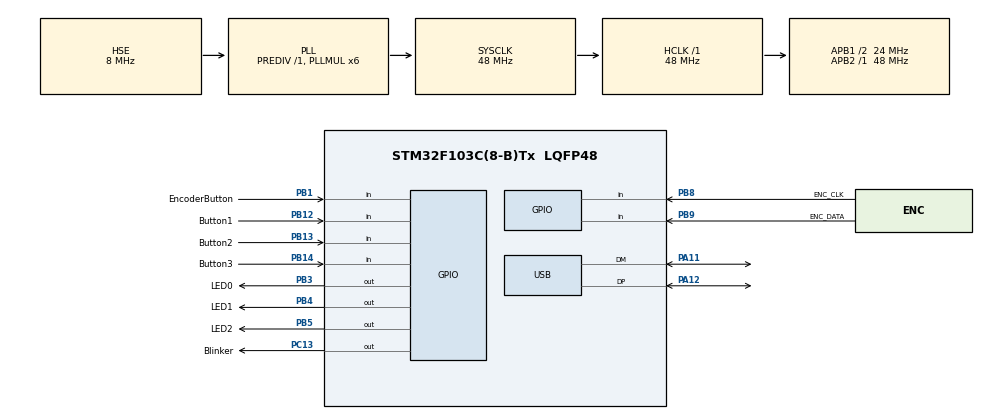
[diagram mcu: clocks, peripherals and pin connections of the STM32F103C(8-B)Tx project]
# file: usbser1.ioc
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Mcu.Family=STM32F1
PB5.GPIO_ModeDefaultOutputPP=GPIO_MODE_OUTPUT_OD
USB_DEVICE.CLASS_NAME_FS=CDC
PD1-OSC_OUT.Mode=HSE-External-Oscillator
PB9.GPIO_Label=ENC_DATA
USB_DEVICE.VirtualModeFS=Cdc_FS
PB14.GPIO_Label=Button3
PC13-TAMPER-RTC.Signal=GPIO_Output
PA11.Mode=Device
PD0-OSC_IN.Signal=RCC_OSC_IN
RCC.APB1CLKDivider=RCC_HCLK_DIV2
PB13.GPIO_Label=Button2
PB13.Signal=GPIO_Input
RCC.SYSCLKSource=RCC_SYSCLKSOURCE_PLLCLK
ProjectManager.StackSize=0x400
PD1-OSC_OUT.Signal=RCC_OSC_OUT
PA13.Signal=SYS_JTMS-SWDIO
PB8.GPIO_Label=ENC_CLK
PA12.Signal=USB_DP
ProjectManager.TargetToolchain=STM32CubeIDE
PB3.PinState=GPIO_PIN_SET
PB1.GPIO_PuPd=GPIO_PULLUP
RCC.HCLKFreq_Value=48000000
VP_USB_DEVICE_VS_USB_DEVICE_CDC_FS.Mode=CDC_FS
RCC.APB2TimFreq_Value=48000000
PB5.PinState=GPIO_PIN_SET
RCC.USBFreq_Value=48000000
RCC.AHBFreq_Value=48000000
PD0-OSC_IN.Mode=HSE-External-Oscillator
PB14.Signal=GPIO_Input
board=custom
PC13-TAMPER-RTC.GPIO_Label=Blinker
RCC.PLLMUL=RCC_PLL_MUL6
PB12.GPIO_Label=Button1
PB13.GPIO_PuPd=GPIO_PULLUP
RCC.APB2Freq_Value=48000000
PB4.GPIO_Label=LED1
PC13-TAMPER-RTC.PinState=GPIO_PIN_SET
PA14.Mode=Serial_Wire
PB1.GPIO_Label=EncoderButton
NVIC.USB_LP_CAN1_RX0_IRQn=true\:0\:0\:false\:false\:true\:false\:true
PA13.Mode=Serial_Wire
Mcu.Name=STM32F103C(8-B)Tx
PB3.Signal=GPIO_Output
RCC.SYSCLKFreq_VALUE=48000000
Mcu.Package=LQFP48
PB5.Signal=GPIO_Output
PB9.Signal=GPIO_Input
PB1.Signal=GPIO_Input
PB14.GPIO_PuPd=GPIO_PULLUP
PA12.Mode=Device
PA11.Signal=USB_DM
PA14.Signal=SYS_JTCK-SWCLK
ProjectManager.HeapSize=0x200
NVIC.PriorityGroup=NVIC_PRIORITYGROUP_4
PB5.GPIO_Label=LED2
RCC.APB1TimFreq_Value=48000000
PB8.Signal=GPIO_Input
PB12.GPIO_PuPd=GPIO_PULLUP
RCC.APB1Freq_Value=24000000
PB4.PinState=GPIO_PIN_SET
USB_DEVICE.VirtualMode=Cdc
PB12.Signal=GPIO_Input
PB3.GPIO_ModeDefaultOutputPP=GPIO_MODE_OUTPUT_OD
PB4.Signal=GPIO_Output
PB4.GPIO_ModeDefaultOutputPP=GPIO_MODE_OUTPUT_OD
PB3.GPIO_Label=LED0

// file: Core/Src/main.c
/* USER CODE BEGIN Header */
/**
 ******************************************************************************
 * @file           : main.c
 * @brief          : Main program body
 ******************************************************************************
 * @attention
 *
 * <h2><center>&copy; Copyright (c) 2021 STMicroelectronics.
 * All rights reserved.</center></h2>
 *
 * This software component is licensed by ST under Ultimate Liberty license
 * SLA0044, the "License"; You may not use this file except in compliance with
 * the License. You may obtain a copy of the License at:
 *                             www.st.com/SLA0044
 *
 ******************************************************************************
 */
/* USER CODE END Header */
#include "main.h"
#include "usb_device.h"

/* USER CODE BEGIN PV */

uint8_t reg_e = 0x01;
uint8_t reg_r = 0x0a;
uint8_t reg_c = 0x28;
uint8_t reg_l = 0x64;

/* USER CODE END PV */

void SystemClock_Config(void);
static void MX_GPIO_Init(void);
void encoder1_routine_1ms(void);
/* USER CODE BEGIN PFP */
//void UartRxTask(void);
//void UartPrintf(const char *format, ...);
/* USER CODE END PFP */

/* USER CODE BEGIN 0 */
uint8_t uint8_toupper(uint8_t c){
	if (c >= 'a' && c <= 'z') {
		c = c ^ 0x20;
	}
	return c;
}
void report_version() {
	UartPrintf("F0304;");
}

void set_reg_val(uint8_t *reg, uint8_t *str){
	unsigned int value;
	if (isxdigit(*str) && isxdigit(*(str + 1)))
	{
		sscanf((char *)str, "%02X", &value);
		*reg = (uint8_t) (value & 0xff);
	}
}
uint8_t read_config(uint32_t offset){
	uint8_t val = 0;
	offset= offset + 0x0800FC00;
	val = *(__IO uint8_t*) offset;
	return val;
}

void cmd_proc(uint8_t *buffer, uint16_t size) {
	// handle commands
	uint8_t *cp = buffer;
	uint16_t i = size;
	uint16_t j = 0;

	if (size == 0)
		return;

	// uppercase everything
	while (i--) {
		*cp = uint8_toupper(*cp);
		cp++;
	}

	switch (buffer[0]) {
	case 'F':
		if (size != 2)
			return;
		// enqueue F<version>;
		report_version();
		break;
	case 'Z':
		// handle Zr; ZrNN; where r is E,R,C,L, NN is a hex number
		if (size < 3 || size > 5)
			return;  //

		uint8_t is_set = (size == 5);

		switch (buffer[1]) {

		case 'E':
			// enqueue 'ZE<hex>;'
			if (is_set) {
				set_reg_val((uint8_t*) &reg_e, &buffer[2]);
			}
			UartPrintf("ZE%02X;", reg_e);

			break;

		case 'R':
			// enqueue 'ZR<hex>;
			if (is_set) {
				set_reg_val((uint8_t*) &reg_r, &buffer[2]);
			}
			UartPrintf("ZR%02X;", reg_r);
			break;

		case 'C':
			// enqueue 'ZC<hex>;'
			if (is_set) {
				set_reg_val((uint8_t*) &reg_c, &buffer[2]);
			}
			UartPrintf("ZC%02X;", reg_c);
			break;

		case 'L':
			// enqueue 'ZL<hex>;'
			if (is_set) {
				set_reg_val((uint8_t*) &reg_l, &buffer[2]);
			}

			UartPrintf("ZL%02X;", reg_l);

			break;
		}
		break;

	case 'I':
		// Handle Innn; where n is 0,1 corresponding to each of the LEDs
		if (size != 5)
			return;
		if (buffer[1] == '1') {
			HAL_GPIO_WritePin( LED0_GPIO_Port, LED0_Pin, GPIO_PIN_RESET);
		}
		if (buffer[2] == '1') {
			HAL_GPIO_WritePin( LED1_GPIO_Port, LED1_Pin, GPIO_PIN_RESET);
		}
		if (buffer[3] == '1') {
			HAL_GPIO_WritePin( LED2_GPIO_Port, LED2_Pin, GPIO_PIN_RESET);
		}
		if (buffer[1] == '0') {
			HAL_GPIO_WritePin( LED0_GPIO_Port, LED0_Pin, GPIO_PIN_SET);
		}
		if (buffer[2] == '0') {
			HAL_GPIO_WritePin( LED1_GPIO_Port, LED1_Pin, GPIO_PIN_SET);
		}
		if (buffer[3] == '0') {
			HAL_GPIO_WritePin( LED2_GPIO_Port, LED2_Pin, GPIO_PIN_SET);
		}
		break;

	case 'C':

		for(j=0; j<256;j++) {
			UartPrintf("%02X;", read_config(j));
		}
		UartPrintf("\n");
		break;

	default:
		break;
	}
}
/* USER CODE END 0 */

int main(void)
{
  /* USER CODE BEGIN 1 */
	uint8_t event[EVT_QWIDTH];
	uint8_t usb_data[USB_BUFFER_SIZE];
	uint8_t single_cmd[CMD_BUFFER_SIZE];
	RingBufferU8 rb1;
	uint8_t saw_terminator=0;
	int len = 0;

	//uint8_t usb_payload[MAX_PAYLOAD];

	RingBufferU8_init(&rb1, usb_data, USB_BUFFER_SIZE);
  /* USER CODE END 1 */

  /* MCU Configuration--------------------------------------------------------*/

  /* Reset of all peripherals, Initializes the Flash interface and the Systick. */
  HAL_Init();

  /* Configure the system clock */
  SystemClock_Config();

  /* Initialize all configured peripherals */
  MX_GPIO_Init();
  MX_USB_DEVICE_Init();
  /* USER CODE BEGIN 2 */

	// initialize the pushbutton handler with mask byte.
	PushButton_Init(0x0F);

	// start a timer routine: 10msec period, perpetual
	// esult = UsrTimer_Set(10, 0, UartRxTask);

	report_version();
	UsrTimer_Set(1,0,encoder1_routine_1ms);
  /* USER CODE END 2 */

  /* Infinite loop */
	while (1) {

    /* USER CODE BEGIN 3 */
		// check event queue
		if (Evt_DeQueue(event)) {
			switch (event[0]) {

			case EVT_ENCODER_UP:
				// event[1]: encoder_id
				// event[2]: encoder_delta
				if (event[2] == 1) {
					UartPrintf("U;");
				} else {
					UartPrintf("U%02X;", event[2]);
				}
				break;

			case EVT_ENCODER_DOWN:
				// event[1]: encoder_id
				// event[2]: encoder_delta
				if (event[2] == 1) {
					UartPrintf("D;");
				} else {
					UartPrintf("D%02X;",event[2]);
				}
				break;

			// pushbutton event ================================================
			// event[1]: button id
			// event[2]: PBTN_SCLK, _DCLK, _TCLK, _LCLK, _DOWN, _ENDN

			case EVT_PBTN_INPUT:
				//UartPrintf("\r\nButton id %d, event %d\r\n", event[1], event[2]);
				if (event[2] == PBTN_SCLK) { // single click event
					if (event[1] == 0) {
						UartPrintf("S;");
					} else {
						UartPrintf("X%1dS;", event[1]);
					}
					// for testing of CDC_Notify_FS
					// setting 0x02 will set PTT for DTR if Active High
					// CDC_Notify_FS(0x00);
				} else if (event[2] == PBTN_LCLK) { // long click event
					if (event[1] == 0) {
						UartPrintf("L;");
					} else {
						UartPrintf("X%1dL;", event[1]);
					}
					// for testing of CDC_Notify_FS
					// setting 0x02 will clear PTT for DTR if Active High
					// CDC_Notify_FS(0x02);
				} else if (event[2] == PBTN_DCLK) { // double click
					if (event[1] == 0) {
						UartPrintf("C;");
					} else {
						UartPrintf("X%1dC;", event[1]);
					}
				} else if (event[2] == PBTN_TCLK) {
					//UartPrintf("\r\nButton %d: triple click.", event[1]);

				} else if (event[2] == PBTN_DOWN) {
					//UartPrintf("\r\nButton %d: is being pressed.", event[1]);
				} else if (event[2] == PBTN_ENDN) {
					// no button
				}
				break;

			case EVT_USB_DATA:
				// evt[1] = size
				// evt[16]..[16+USB_MAX_PAYLOAD] is data
				saw_terminator = RingBufferU8_write(&rb1, (const unsigned char *)&event[16], event[1], ';');

				// handle the commands
				if (saw_terminator) {
					while ((len = RingBufferU8_readUntil(&rb1, single_cmd, CMD_BUFFER_SIZE, ';'))) {
						single_cmd[len] = 0;
						cmd_proc(single_cmd, len);
						//UartPrintf("USB cmd: [%s]\n",single_cmd);
					}
				}
				break;
			default:
				break;
			}
		} else {
			// delay here is recommended not to call Evt_DeQueue too frequently
			HAL_Delay(5);
		}
	}
  /* USER CODE END 3 */
}

void SystemClock_Config(void)
{
  RCC_OscInitTypeDef RCC_OscInitStruct = {0};
  RCC_ClkInitTypeDef RCC_ClkInitStruct = {0};
  RCC_PeriphCLKInitTypeDef PeriphClkInit = {0};

  /** Initializes the RCC Oscillators according to the specified parameters
  * in the RCC_OscInitTypeDef structure.
  */
  RCC_OscInitStruct.OscillatorType = RCC_OSCILLATORTYPE_HSE;
  RCC_OscInitStruct.HSEState = RCC_HSE_ON;
  RCC_OscInitStruct.HSEPredivValue = RCC_HSE_PREDIV_DIV1;
  RCC_OscInitStruct.HSIState = RCC_HSI_ON;
  RCC_OscInitStruct.PLL.PLLState = RCC_PLL_ON;
  RCC_OscInitStruct.PLL.PLLSource = RCC_PLLSOURCE_HSE;
  RCC_OscInitStruct.PLL.PLLMUL = RCC_PLL_MUL6;
  if (HAL_RCC_OscConfig(&RCC_OscInitStruct) != HAL_OK)
  {
    Error_Handler();
  }
  /** Initializes the CPU, AHB and APB buses clocks
  */
  RCC_ClkInitStruct.ClockType = RCC_CLOCKTYPE_HCLK|RCC_CLOCKTYPE_SYSCLK
                              |RCC_CLOCKTYPE_PCLK1|RCC_CLOCKTYPE_PCLK2;
  RCC_ClkInitStruct.SYSCLKSource = RCC_SYSCLKSOURCE_PLLCLK;
  RCC_ClkInitStruct.AHBCLKDivider = RCC_SYSCLK_DIV1;
  RCC_ClkInitStruct.APB1CLKDivider = RCC_HCLK_DIV2;
  RCC_ClkInitStruct.APB2CLKDivider = RCC_HCLK_DIV1;

  if (HAL_RCC_ClockConfig(&RCC_ClkInitStruct, FLASH_LATENCY_1) != HAL_OK)
  {
    Error_Handler();
  }
  PeriphClkInit.PeriphClockSelection = RCC_PERIPHCLK_USB;
  PeriphClkInit.UsbClockSelection = RCC_USBCLKSOURCE_PLL;
  if (HAL_RCCEx_PeriphCLKConfig(&PeriphClkInit) != HAL_OK)
  {
    Error_Handler();
  }
}

static void MX_GPIO_Init(void)
{
  GPIO_InitTypeDef GPIO_InitStruct = {0};

  /* GPIO Ports Clock Enable */
  __HAL_RCC_GPIOC_CLK_ENABLE();
  __HAL_RCC_GPIOD_CLK_ENABLE();
  __HAL_RCC_GPIOB_CLK_ENABLE();
  __HAL_RCC_GPIOA_CLK_ENABLE();

  /*Configure GPIO pin Output Level */
  HAL_GPIO_WritePin(Blinker_GPIO_Port, Blinker_Pin, GPIO_PIN_SET);

  /*Configure GPIO pin Output Level */
  HAL_GPIO_WritePin(GPIOB, LED0_Pin|LED1_Pin|LED2_Pin, GPIO_PIN_SET);

  /*Configure GPIO pin : Blinker_Pin */
  GPIO_InitStruct.Pin = Blinker_Pin;
  GPIO_InitStruct.Mode = GPIO_MODE_OUTPUT_PP;
  GPIO_InitStruct.Pull = GPIO_NOPULL;
  GPIO_InitStruct.Speed = GPIO_SPEED_FREQ_LOW;
  HAL_GPIO_Init(Blinker_GPIO_Port, &GPIO_InitStruct);

  /*Configure GPIO pins : EncoderButton_Pin Button1_Pin Button2_Pin Button3_Pin */
  GPIO_InitStruct.Pin = EncoderButton_Pin|Button1_Pin|Button2_Pin|Button3_Pin;
  GPIO_InitStruct.Mode = GPIO_MODE_INPUT;
  GPIO_InitStruct.Pull = GPIO_PULLUP;
  HAL_GPIO_Init(GPIOB, &GPIO_InitStruct);

  /*Configure GPIO pins : LED0_Pin LED1_Pin LED2_Pin */
  GPIO_InitStruct.Pin = LED0_Pin|LED1_Pin|LED2_Pin;
  GPIO_InitStruct.Mode = GPIO_MODE_OUTPUT_OD;
  GPIO_InitStruct.Pull = GPIO_NOPULL;
  GPIO_InitStruct.Speed = GPIO_SPEED_FREQ_LOW;
  HAL_GPIO_Init(GPIOB, &GPIO_InitStruct);

  /*Configure GPIO pins : ENC_CLK_Pin ENC_DATA_Pin */
  GPIO_InitStruct.Pin = ENC_CLK_Pin|ENC_DATA_Pin;
  GPIO_InitStruct.Mode = GPIO_MODE_INPUT;
  GPIO_InitStruct.Pull = GPIO_NOPULL;
  HAL_GPIO_Init(GPIOB, &GPIO_InitStruct);

}

/* USER CODE BEGIN 4 */
/** Printf() style UART output. Check the standard c library that comes
 * with the compiler for the scope of the format string it supports.
 */
void UartPrintf(const char *format, ...)
{
	char buffer[128];
	uint16_t size;
	uint8_t tries = 100;
	va_list args;

	va_start(args, format);
	size = vsprintf(buffer, format, args);
	va_end(args);
	while (USBD_BUSY == CDC_Transmit_FS((uint8_t*)buffer, size) && tries--)
		{
			HAL_Delay(5);
		}
}

/** This function returns the state (click/release) of the pushbuttons
 * in a uint8_t variable, each bit of which corresponds to a button.
 * Note that 1 implies the button is clicked (pressed) and 0 implies the
 * button is released.
 *
 * \return	pushbutton state packed in a uint8_t.
 */
uint8_t PushButton_Read()
{
	uint8_t buttons = 0;
	// button pushed
	if (!HAL_GPIO_ReadPin(EncoderButton_GPIO_Port, EncoderButton_Pin))
	{
		buttons |= 1;
	}
	if (!HAL_GPIO_ReadPin(Button1_GPIO_Port, Button1_Pin)) {
		buttons |= 2;
	}
	if (!HAL_GPIO_ReadPin(Button2_GPIO_Port, Button2_Pin)) {
		buttons |= 4;
	}
	if (!HAL_GPIO_ReadPin(Button3_GPIO_Port, Button3_Pin)) {
		buttons |= 8;
	}
	//if (buttons) {
	//	UartPrintf("Buttons! %02x",buttons);
	//}

	return buttons;
}

/** SysTick callback function override.
 */
void SysTick_Handler_1ms()
{
	// UsrTimer_Routine will have 1msec resolution
	//encoder1_routine_1ms();
	UsrTimer_Routine();
	return;
}

void SysTick_Handler_5ms()
{
	// blink the LED
	static int counter_5ms = 0;
	if (counter_5ms++ > 200) {
		counter_5ms = 0;
		HAL_GPIO_TogglePin(Blinker_GPIO_Port, Blinker_Pin);
	}

}
/* USER CODE END 4 */

void Error_Handler(void)
{
	__disable_irq();
	while (1) {
	}
}

/************************ (C) COPYRIGHT STMicroelectronics *****END OF FILE****/
